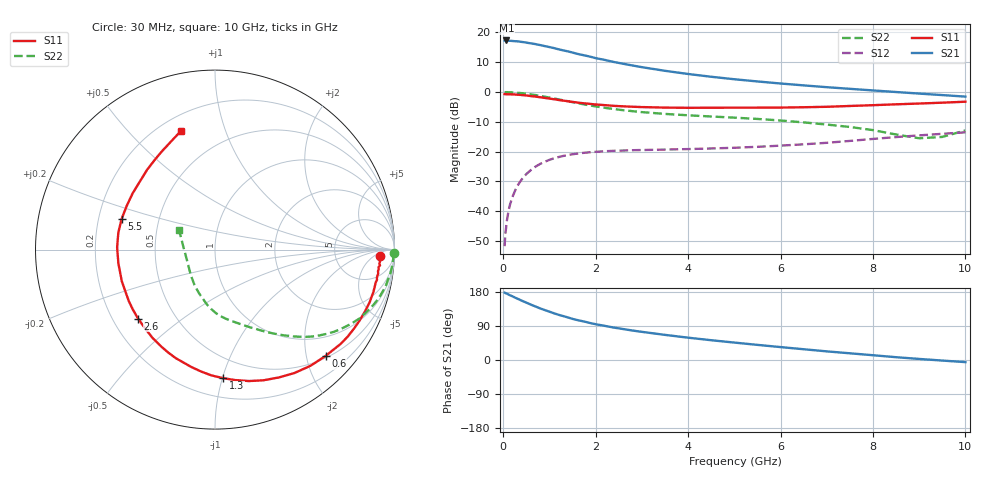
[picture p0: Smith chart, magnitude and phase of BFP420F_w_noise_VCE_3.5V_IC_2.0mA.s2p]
! Infineon Technologies  Discrete & RF Semiconductors
! BFP420F
! VCE =  3.5 V,  IC =  2.0 mA
! Common Emitter S-Parameters:  Sep 2011
# GHz  S  MA  R  50
!  f  S11  S21  S12  S22
! GHz  MAG  ANG  MAG  ANG  MAG  ANG  MAG  ANG
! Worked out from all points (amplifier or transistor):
!   54 points, 30 MHz to 10 GHz, reference 50 ohm
!   highest |S21| = 17.3 dB at 70 MHz (marker M1)
!   |S21| within 3 dB of that: start of sweep to 1.206 GHz
!   unconditionally stable (mu >= 1): 3.245 GHz to end of sweep
!   at 120 MHz: K = 0.05, MSG = 28.4 dB, |S12| = -39.5 dB
!   at 1.3 GHz: K = 0.30, MSG = 17.7 dB, |S12| = -21.4 dB
!   at 10 GHz: K = 1.57, MAG = 1.5 dB, |S12| = -13.5 dB
!   lowest NFmin = 0.81 dB at 450 MHz
!   S11 on the Smith chart (normalised r, x): 30 MHz: 20, -10; 600 MHz: 0.54, -2.38; 1.3 GHz: 0.34, -1.01; 2.6 GHz: 0.31, -0.35; 5.5 GHz: 0.30, +0.15; 10 GHz: 0.28, +0.72
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0.03  0.9221 -2.2  7.314 177.7  0.0026 82.8  0.9948 -1.2
0.07  0.9237 -5.5  7.329 175.7  0.0061 86.3  0.9943 -2.7
0.15  0.9141 -11.5  7.232 170.6  0.0132 83.0  0.9896 -5.9
0.3  0.9036 -22.6  7.097 162.2  0.0261 78.0  0.9735 -11.7
0.45  0.884 -33.3  6.848 154.0  0.0383 72.6  0.9478 -17.1
0.6  0.8548 -43.9  6.544 146.0  0.0493 66.8  0.9133 -22.4
0.8  0.8179 -57.2  6.13 136.1  0.0623 60.2  0.8628 -28.7
0.9  0.7961 -63.5  5.891 131.7  0.0678 57.1  0.8349 -31.6
1.1  0.7565 -75.5  5.457 123.2  0.0774 51.3  0.7787 -37.1
1.3  0.7178 -86.4  4.994 115.8  0.0848 46.5  0.7264 -41.8
1.5  0.683 -96.7  4.592 108.5  0.0905 42.3  0.6761 -45.9
1.7  0.6527 -105.8  4.209 102.8  0.0948 38.8  0.6308 -49.6
2  0.619 -118.4  3.701 94.5  0.0994 34.5  0.5744 -54.7
2.4  0.5859 -132.1  3.184 85.4  0.1034 30.4  0.5181 -60.4
2.6  0.5758 -138.1  2.976 81.6  0.1045 29.1  0.495 -63.0
3.5  0.5484 -161.2  2.27 66.3  0.1084 25.6  0.4297 -72.7
4.5  0.5454 178.7  1.804 52.2  0.1131 25.3  0.3887 -81.3
5.5  0.5475 161.9  1.505 39.9  0.1206 26.9  0.3539 -89.2
7  0.5655 137.5  1.206 22.8  0.1408 29.3  0.2848 -103.2
8.5  0.6224 118.4  1.001 7.4  0.1756 27.8  0.1941 -134.4
9.5  0.6629 109.9  0.889 -1.5  0.1992 24.2  0.1767 175.2
10  0.6885 105.8  0.838 -5.6  0.2111 22.0  0.2268 151.7
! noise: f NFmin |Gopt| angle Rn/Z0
0.45  0.81  0.49  17  0.26
0.9  0.87  0.48  36  0.26
1.9  1.18  0.37  84  0.2
2.4  1.31  0.38  97  0.2
3.5  1.73  0.39  136  0.18
